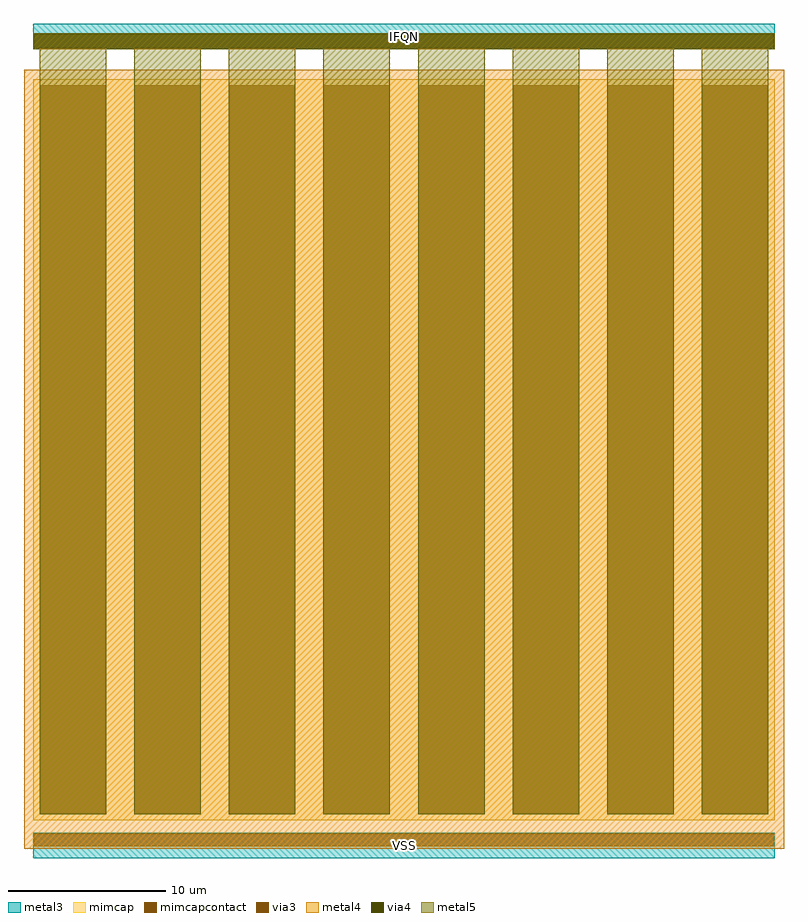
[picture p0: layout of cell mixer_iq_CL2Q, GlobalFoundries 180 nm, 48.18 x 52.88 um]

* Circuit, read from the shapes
.subckt mixer_iq_CL2Q IFQN VSS
XC1 IFQN VSS cap_mim_2f0fF c_width=46.98u c_length=46.98u
.ends

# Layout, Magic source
magic
tech gf180mcuD
magscale 1 10
<< metal3 >>
rect 0 -340 9396 -160
rect 0 9776 9396 9976
rect 0 9776 9396 10096
rect 0 9776 9396 10096
rect 0 -480 9396 -160
rect 0 -480 9396 -160
<< metal4 >>
rect -120 -360 9516 9516
rect 0 -340 9396 -160
rect 0 9776 9396 9976
rect 0 9776 9396 9976
<< mimcap >>
rect 0 0 9396 9396
<< metal5 >>
rect 78 78 922 9876
rect 1277 78 2121 9876
rect 2477 78 3321 9876
rect 3676 78 4520 9876
rect 4876 78 5720 9876
rect 6075 78 6919 9876
rect 7274 78 8118 9876
rect 8474 78 9318 9876
rect 0 9776 9396 9976
rect 0 9776 9396 9976
<< via3 >>
rect 10 -330 9386 -170
rect 10 9786 9386 9966
<< via4 >>
rect 10 9786 9386 9966
<< mimcapcontact >>
rect 78 78 922 9318
rect 1277 78 2121 9318
rect 2477 78 3321 9318
rect 3676 78 4520 9318
rect 4876 78 5720 9318
rect 6075 78 6919 9318
rect 7274 78 8118 9318
rect 8474 78 9318 9318
<< labels >>
flabel metal3 s 0 9776 9396 10096 0 FreeSans 80 0 0 0 IFQN
port 1 nsew signal bidirectional
flabel metal3 s 0 -480 9396 -160 0 FreeSans 80 0 0 0 VSS
port 2 nsew signal bidirectional
<< end >>
